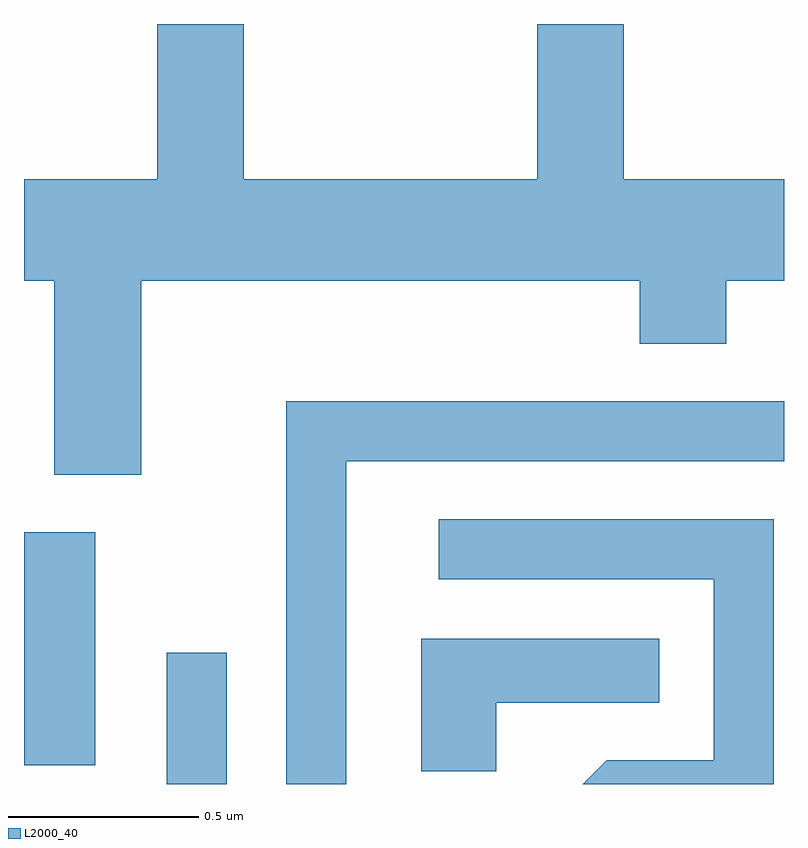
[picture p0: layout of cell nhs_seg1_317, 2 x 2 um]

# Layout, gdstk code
import gdstk
lib = gdstk.Library(unit=1e-6, precision=1e-09)
def R(c, l, rs):  # rectangles x0, y0, x1, y1
    for r in rs: c.add(gdstk.rectangle(r[:2], r[2:], *l))
def P(c, l, *ps):  # polygons
    for p in ps: c.add(gdstk.Polygon(p, *l))
L2000_40 = (2000, 40)

nhs_seg1_317 = lib.new_cell('nhs_seg1_317')
R(nhs_seg1_317, L2000_40, [(187.986,882.712,188.144,883.058), (187.611,882.761,187.799,883.374)])
P(nhs_seg1_317, L2000_40, [(187.919,884.036),(189.231,884.036),(189.231,883.871),(189.459,883.871),(189.459,884.036),(189.611,884.036),(189.611,884.304),(189.189,884.304),(189.189,884.712),(188.961,884.712),(188.961,884.304),(188.189,884.304),(188.189,884.712),(187.961,884.712),(187.961,884.304),(187.611,884.304),(187.611,884.036),(187.691,884.036),(187.691,883.526),(187.919,883.526)],
  [(188.459,883.561),(189.611,883.561),(189.611,883.719),(188.301,883.719),(188.301,882.712),(188.459,882.712)],
  [(189.584,883.409),(188.703,883.409),(188.703,883.251),(189.426,883.251),(189.426,882.774),(189.144,882.774),(189.082,882.712),(189.584,882.712)],
  [(188.854,882.926),(189.283,882.926),(189.283,883.094),(188.656,883.094),(188.656,882.746),(188.854,882.746)])

lib.write_gds('nhs_seg1_317.gds')
